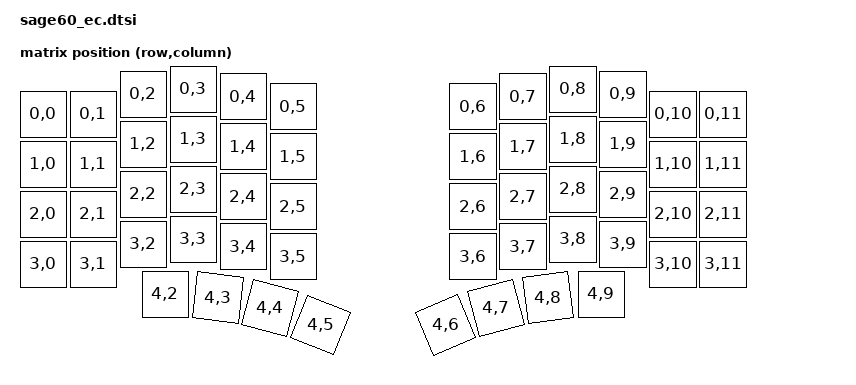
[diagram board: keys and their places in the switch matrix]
/*
 * Copyright (c) 2026 Diwamoto_
 * SPDX-License-Identifier: MIT
 *
 * Sage60 EC (Topre-style capacitive) - shared by both halves.
 * Controller: XIAO nRF52840 Plus. Sensing: pcb/ec_scan_module
 * (74HC4051 mux -> TLV9061 amp -> ADC, DISCHARGE drains the mux common).
 *
 * Per half: 5 strobes (ROW0..ROW4) x 6 inputs (COL0..COL5), 28 keys.
 * ROW4 is the thumb row and only has COL2..COL5.
 * 74HC4051 channel of each COL: COL0=4 COL1=6 COL2=7 COL3=5 COL4=1 COL5=0
 * (COL6=3 is broken out on the module but unused on sage60).
 *
 * Pins differ per half and live in sage60_ec_left/right.overlay.
 * Keys stay dead until calibrated: build the *_calibrator target, then over
 * USB serial run `ec calibration start`, press every key, `ec calibration save`.
 */

#include <dt-bindings/zmk/matrix_transform.h>
#include <physical_layouts.dtsi>

/ {
    chosen {
        zmk,kscan = &matrix;
        zmk,physical-layout = &sage60_ec_layout;
    };

    mux: mux {
        compatible = "zmk,gpio-mux";
        gpio-controller;
        #gpio-cells = <2>;
        /* select-gpios / en-gpios per half */
    };

    matrix: matrix {
        compatible = "zmk,kscan-ec-matrix";
        io-channels = <&adc 0>;
        matrix-warm-up-us = <500>;
        matrix-relax-us = <1000>;
        adc-read-settle-us = <1>;
        dynamic-polling-interval;
        /* Calibration knob: raise to make keys trigger deeper (10..90). */
        trigger-percentage = <50>;
        /* strobe-gpios / input-gpios / drain-gpios / power-gpios per half */
    };

    default_transform: keymap_transform_0 {
        compatible = "zmk,matrix-transform";
        columns = <12>;
        rows = <5>;
        /* col-offset = 6 on the right half; right inputs are listed inner-first */
        map = <
RC(0,0) RC(0,1) RC(0,2) RC(0,3) RC(0,4) RC(0,5)   RC(0,6) RC(0,7) RC(0,8) RC(0,9) RC(0,10) RC(0,11)
RC(1,0) RC(1,1) RC(1,2) RC(1,3) RC(1,4) RC(1,5)   RC(1,6) RC(1,7) RC(1,8) RC(1,9) RC(1,10) RC(1,11)
RC(2,0) RC(2,1) RC(2,2) RC(2,3) RC(2,4) RC(2,5)   RC(2,6) RC(2,7) RC(2,8) RC(2,9) RC(2,10) RC(2,11)
RC(3,0) RC(3,1) RC(3,2) RC(3,3) RC(3,4) RC(3,5)   RC(3,6) RC(3,7) RC(3,8) RC(3,9) RC(3,10) RC(3,11)
                RC(4,2) RC(4,3) RC(4,4) RC(4,5)   RC(4,6) RC(4,7) RC(4,8) RC(4,9)
        >;
    };

    /* Generated from pcb/ec_main + pcb/ec_right switch positions. */
    sage60_ec_layout: physical_layout {
        compatible = "zmk,physical-layout";
        display-name = "Sage60 EC";
        transform = <&default_transform>;

        keys  //                     w   h     x    y     rot    rx   ry
            = <&key_physical_attrs 100 100     0   50       0     0    0> // R0C0
            , <&key_physical_attrs 100 100   100   50       0     0    0> // R0C1
            , <&key_physical_attrs 100 100   200   10       0     0    0> // R0C2
            , <&key_physical_attrs 100 100   300    0       0     0    0> // R0C3
            , <&key_physical_attrs 100 100   400   15       0     0    0> // R0C4
            , <&key_physical_attrs 100 100   500   35       0     0    0> // R0C5
            , <&key_physical_attrs 100 100   860   35       0     0    0> // R0C6
            , <&key_physical_attrs 100 100   960   15       0     0    0> // R0C7
            , <&key_physical_attrs 100 100  1060    0       0     0    0> // R0C8
            , <&key_physical_attrs 100 100  1160   10       0     0    0> // R0C9
            , <&key_physical_attrs 100 100  1260   50       0     0    0> // R0C10
            , <&key_physical_attrs 100 100  1360   50       0     0    0> // R0C11
            , <&key_physical_attrs 100 100     0  150       0     0    0> // R1C0
            , <&key_physical_attrs 100 100   100  150       0     0    0> // R1C1
            , <&key_physical_attrs 100 100   200  110       0     0    0> // R1C2
            , <&key_physical_attrs 100 100   300  100       0     0    0> // R1C3
            , <&key_physical_attrs 100 100   400  115       0     0    0> // R1C4
            , <&key_physical_attrs 100 100   500  135       0     0    0> // R1C5
            , <&key_physical_attrs 100 100   860  135       0     0    0> // R1C6
            , <&key_physical_attrs 100 100   960  115       0     0    0> // R1C7
            , <&key_physical_attrs 100 100  1060  100       0     0    0> // R1C8
            , <&key_physical_attrs 100 100  1160  110       0     0    0> // R1C9
            , <&key_physical_attrs 100 100  1260  150       0     0    0> // R1C10
            , <&key_physical_attrs 100 100  1360  150       0     0    0> // R1C11
            , <&key_physical_attrs 100 100     0  250       0     0    0> // R2C0
            , <&key_physical_attrs 100 100   100  250       0     0    0> // R2C1
            , <&key_physical_attrs 100 100   200  210       0     0    0> // R2C2
            , <&key_physical_attrs 100 100   300  200       0     0    0> // R2C3
            , <&key_physical_attrs 100 100   400  215       0     0    0> // R2C4
            , <&key_physical_attrs 100 100   500  235       0     0    0> // R2C5
            , <&key_physical_attrs 100 100   860  235       0     0    0> // R2C6
            , <&key_physical_attrs 100 100   960  215       0     0    0> // R2C7
            , <&key_physical_attrs 100 100  1060  200       0     0    0> // R2C8
            , <&key_physical_attrs 100 100  1160  210       0     0    0> // R2C9
            , <&key_physical_attrs 100 100  1260  250       0     0    0> // R2C10
            , <&key_physical_attrs 100 100  1360  250       0     0    0> // R2C11
            , <&key_physical_attrs 100 100     0  350       0     0    0> // R3C0
            , <&key_physical_attrs 100 100   100  350       0     0    0> // R3C1
            , <&key_physical_attrs 100 100   200  310       0     0    0> // R3C2
            , <&key_physical_attrs 100 100   300  300       0     0    0> // R3C3
            , <&key_physical_attrs 100 100   400  315       0     0    0> // R3C4
            , <&key_physical_attrs 100 100   500  335       0     0    0> // R3C5
            , <&key_physical_attrs 100 100   860  335       0     0    0> // R3C6
            , <&key_physical_attrs 100 100   960  315       0     0    0> // R3C7
            , <&key_physical_attrs 100 100  1060  300       0     0    0> // R3C8
            , <&key_physical_attrs 100 100  1160  310       0     0    0> // R3C9
            , <&key_physical_attrs 100 100  1260  350       0     0    0> // R3C10
            , <&key_physical_attrs 100 100  1360  350       0     0    0> // R3C11
            , <&key_physical_attrs 100 100   244  410       0     0    0> // R4C2
            , <&key_physical_attrs 100 100   350  417     700   400  467> // R4C3
            , <&key_physical_attrs 100 100   454  438    1500   504  488> // R4C4
            , <&key_physical_attrs 100 100   555  472    2200   605  522> // R4C5
            , <&key_physical_attrs 100 100   805  472 (-2250)   855  522> // R4C6
            , <&key_physical_attrs 100 100   906  438 (-1500)   956  488> // R4C7
            , <&key_physical_attrs 100 100  1010  417  (-750)  1060  467> // R4C8
            , <&key_physical_attrs 100 100  1116  410       0     0    0> // R4C9
            ;
    };
};

&adc {
    status = "okay";
    #address-cells = <1>;
    #size-cells = <0>;

    channel@0 {
        reg = <0>;
        zephyr,input-positive = <NRF_SAADC_AIN0>; /* P0.02 = ADC */
        zephyr,gain = "ADC_GAIN_1_6";
        zephyr,reference = "ADC_REF_INTERNAL";
        zephyr,acquisition-time = <ADC_ACQ_TIME(ADC_ACQ_TIME_MICROSECONDS, 3)>;
        zephyr,resolution = <10>;
    };
};

/* uart0 (D6/D7) and i2c1 (D4/D5) default to pins used here on xiao_ble. */
&uart0 { status = "disabled"; };
&i2c1 { status = "disabled"; };
